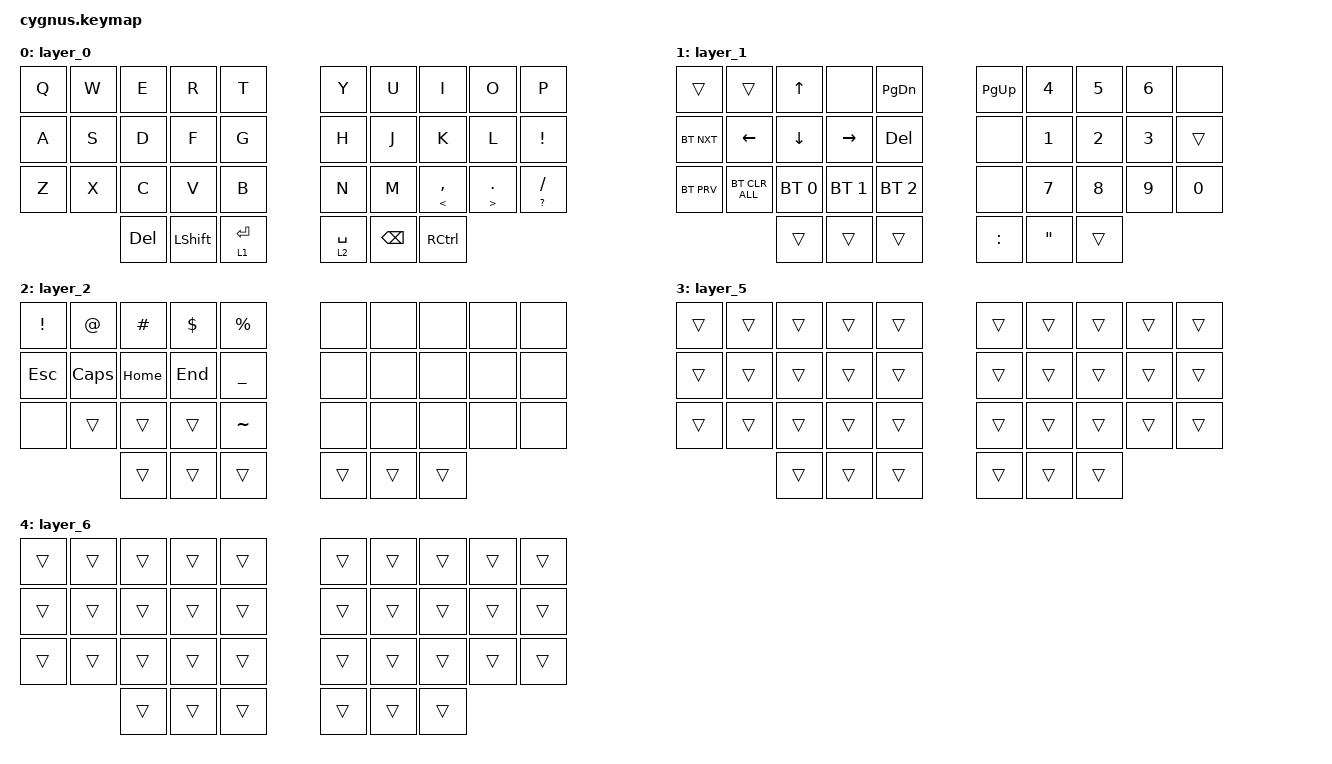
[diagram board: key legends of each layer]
/*
 * Copyright (c) 2020 The ZMK Contributors
 *
 * SPDX-License-Identifier: MIT
 */

#include <dt-bindings/zmk/mouse.h>
#include <behaviors/mouse_keys.dtsi>
#include <behaviors.dtsi>
#include <dt-bindings/zmk/bt.h>
#include <dt-bindings/zmk/keys.h>

&mt {
    tapping-term-ms = <200>;
    flavor = "tap-preferred";
};

&sk {
    release-after-ms = <2000>;
    quick-release;
};

/ {
    combos {
        compatible = "zmk,combos";

        left_bkt {
            bindings = <&kp LBKT>;
            key-positions = <3 2>;
            timeout-ms = <50>;
        };

        right_bkt {
            bindings = <&kp RBKT>;
            key-positions = <6 7>;
            timeout-ms = <50>;
        };

        left_par {
            bindings = <&kp LEFT_PARENTHESIS>;
            key-positions = <12 13>;
            timeout-ms = <50>;
        };

        right_par {
            bindings = <&kp RIGHT_PARENTHESIS>;
            key-positions = <16 17>;
            timeout-ms = <50>;
        };

        left_brace {
            bindings = <&kp LEFT_BRACE>;
            key-positions = <23 22>;
            timeout-ms = <50>;
        };

        right_brace {
            bindings = <&kp RIGHT_BRACE>;
            key-positions = <26 27>;
            timeout-ms = <50>;
        };

        bac {
            bindings = <&kp BACKSLASH>;
            key-positions = <4 5>;
        };

        pipe {
            bindings = <&kp PIPE>;
            key-positions = <14 15>;
        };
    };

    behaviors {
        hm: homerow_mods {
            compatible = "zmk,behavior-hold-tap";
            label = "HOMEROW_MODS";
            #binding-cells = <2>;
            tapping-term-ms = <200>;
            quick_tap_ms = <0>;
            flavor = "tap-preferred";
            bindings = <&kp>, <&kp>;

            quick-tap-ms = <180>;
            global-quick-tap;
        };

        ltq: ltq {
            compatible = "zmk,behavior-hold-tap";
            label = "LTQ";
            #binding-cells = <2>;
            tapping-term-ms = <200>;
            quick_tap_ms = <0>;
            flavor = "hold-preferred";
            bindings = <&mo>, <&kp>;

            quick-tap-ms = <180>;
            global-quick-tap;
        };

        as: as {
            compatible = "zmk,behavior-hold-tap";
            label = "AUTO_SHIFT";
            bindings = <&kp>, <&kp>;

            #binding-cells = <2>;
            tapping-term-ms = <135>;
            quick-tap-ms = <0>;
            flavor = "tap-preferred";
        };
    };

    keymap {
        compatible = "zmk,keymap";

        layer_0 {
            bindings = <
&kp Q              &kp W                  &kp E               &kp R  &kp T         &kp Y                     &kp U  &kp I                &kp O                    &kp P
&kp A              &kp S                  &kp D               &kp F  &kp G         &kp H                     &kp J  &kp K                &kp L                    &kp EXCLAMATION
&kp Z              &kp X                  &kp C               &kp V  &kp B         &kp N                     &kp M  &as LESS_THAN COMMA  &as GREATER_THAN PERIOD  &as QUESTION SLASH
       &kp DELETE         &kp LEFT_SHIFT         &lt 1 ENTER         &ltq 2 SPACE  &kp BACKSPACE  &kp RCTRL
            >;
        };

        layer_1 {
            bindings = <
&trans              &trans                  &kp UP                &none         &kp PAGE_DOWN  &kp PAGE_UP                &kp NUMBER_4  &kp N5        &kp NUMBER_6  &none
&bt BT_NXT          &kp LEFT                &kp DOWN              &kp RIGHT     &kp DELETE     &none                      &kp NUMBER_1  &kp NUMBER_2  &kp NUMBER_3  &trans
&bt BT_PRV          &bt BT_CLR_ALL          &bt BT_SEL 0          &bt BT_SEL 1  &bt BT_SEL 2   &none                      &kp N7        &kp N8        &kp N9        &kp N0
            &trans                  &trans                &trans                &kp COLON      &kp DOUBLE_QUOTES  &trans
            >;
        };

        layer_2 {
            bindings = <
&kp EXCLAMATION          &kp AT_SIGN           &kp HASH          &kp DOLLAR  &kp PERCENT  &none           &none  &none  &none  &none
&kp ESCAPE               &kp CAPSLOCK          &kp HOME          &kp END     &kp UNDER    &none           &none  &none  &none  &none
&none                    &trans                &trans            &trans      &kp TILDE    &none           &none  &none  &none  &none
                 &trans                &trans            &trans              &trans       &trans  &trans
            >;
        };

        layer_5 {
            bindings = <
&trans          &trans          &trans          &trans  &trans  &trans          &trans  &trans  &trans  &trans
&trans          &trans          &trans          &trans  &trans  &trans          &trans  &trans  &trans  &trans
&trans          &trans          &trans          &trans  &trans  &trans          &trans  &trans  &trans  &trans
        &trans          &trans          &trans          &trans  &trans  &trans
            >;
        };

        layer_6 {
            bindings = <
&trans          &trans          &trans          &trans  &trans  &trans          &trans  &trans  &trans  &trans
&trans          &trans          &trans          &trans  &trans  &trans          &trans  &trans  &trans  &trans
&trans          &trans          &trans          &trans  &trans  &trans          &trans  &trans  &trans  &trans
        &trans          &trans          &trans          &trans  &trans  &trans
            >;
        };
    };
};
